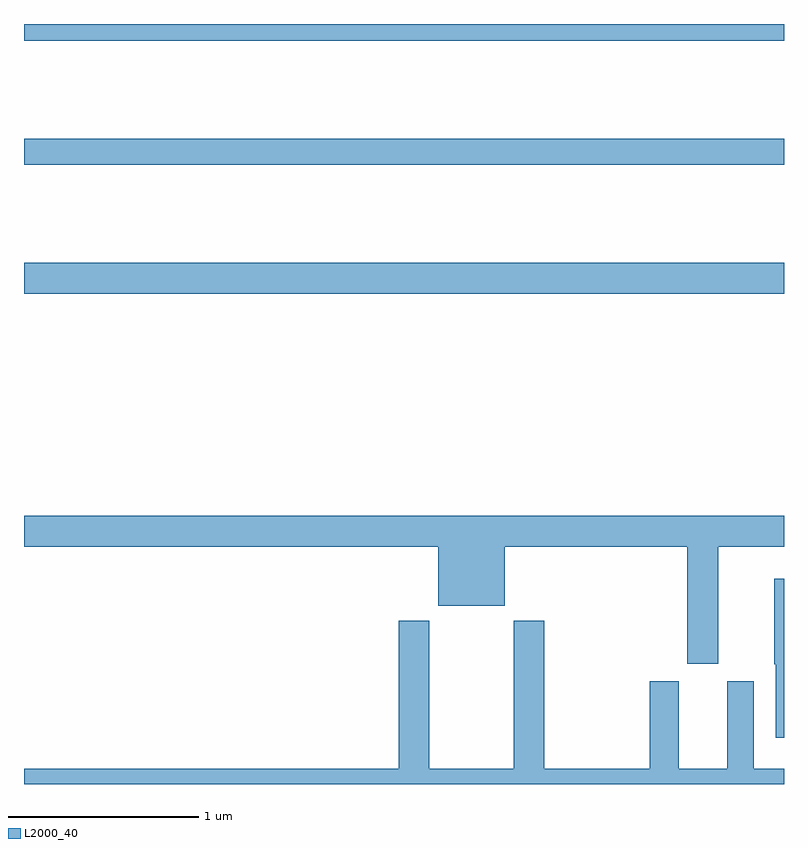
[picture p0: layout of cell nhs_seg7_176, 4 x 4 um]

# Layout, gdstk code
import gdstk
lib = gdstk.Library(unit=1e-6, precision=1e-09)
def R(c, l, rs):  # rectangles x0, y0, x1, y1
    for r in rs: c.add(gdstk.rectangle(r[:2], r[2:], *l))
def P(c, l, *ps):  # polygons
    for p in ps: c.add(gdstk.Polygon(p, *l))
L2000_40 = (2000, 40)

nhs_seg7_176 = lib.new_cell('nhs_seg7_176')
R(nhs_seg7_176, L2000_40, [(123,1036.58,127,1036.744), (123,1037.26,127,1037.396), (123,1037.912,127,1038)])
P(nhs_seg7_176, L2000_40, [(126.655,1035.248),(127,1035.248),(127,1035.412),(123,1035.412),(123,1035.248),(125.18,1035.248),(125.18,1034.939),(125.53,1034.939),(125.53,1035.248),(126.491,1035.248),(126.491,1034.634),(126.655,1034.634)],
  [(127,1035.079),(126.949,1035.079),(126.949,1034.629),(126.956,1034.629),(126.956,1034.244),(127,1034.244)],
  [(127,1034.08),(126.841,1034.08),(126.841,1034.542),(126.701,1034.542),(126.701,1034.08),(126.445,1034.08),(126.445,1034.542),(126.293,1034.542),(126.293,1034.08),(125.738,1034.08),(125.738,1034.86),(125.578,1034.86),(125.578,1034.08),(125.133,1034.08),(125.133,1034.86),(124.973,1034.86),(124.973,1034.08),(123,1034.08),(123,1034),(127,1034)])

lib.write_gds('nhs_seg7_176.gds')
